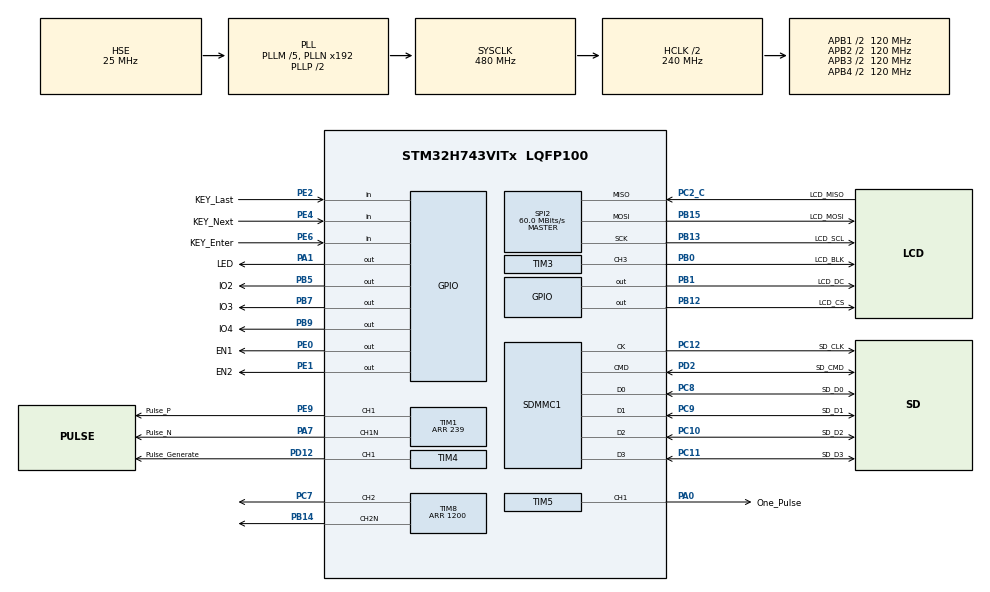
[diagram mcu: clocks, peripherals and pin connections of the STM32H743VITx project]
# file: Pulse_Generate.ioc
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Dma.Request0=SPI2_TX
Dma.SPI2_TX.0.Direction=DMA_MEMORY_TO_PERIPH
Dma.SPI2_TX.0.EventEnable=DISABLE
Dma.SPI2_TX.0.FIFOMode=DMA_FIFOMODE_DISABLE
Dma.SPI2_TX.0.Instance=DMA1_Stream0
Dma.SPI2_TX.0.MemDataAlignment=DMA_MDATAALIGN_BYTE
Dma.SPI2_TX.0.MemInc=DMA_MINC_ENABLE
Dma.SPI2_TX.0.Mode=DMA_NORMAL
Dma.SPI2_TX.0.PeriphDataAlignment=DMA_PDATAALIGN_BYTE
Dma.SPI2_TX.0.PeriphInc=DMA_PINC_DISABLE
Dma.SPI2_TX.0.Polarity=HAL_DMAMUX_REQ_GEN_RISING
Dma.SPI2_TX.0.Priority=DMA_PRIORITY_LOW
Dma.SPI2_TX.0.RequestNumber=1
Dma.SPI2_TX.0.SignalID=NONE
Dma.SPI2_TX.0.SyncEnable=DISABLE
Dma.SPI2_TX.0.SyncPolarity=HAL_DMAMUX_SYNC_NO_EVENT
Dma.SPI2_TX.0.SyncRequestNumber=1
Dma.SPI2_TX.0.SyncSignalID=NONE
FATFS._CODE_PAGE=936
FATFS._USE_LFN=2
FREERTOS.Tasks01=Empty_Task,8,128,StartTask01,Default,NULL,Dynamic,NULL,NULL;KEY_Task,16,128,StartTask02,Default,NULL,Dynamic,NULL,NULL;LED_Task,8,128,StartTask03,Default,NULL,Dynamic,NULL,NULL;FATFS_Task,24,1024,StartTask04,Default,NULL,Dynamic,NULL,NULL;LVGL_Task,21,2048,StartTask05,Default,NULL,Dynamic,NULL,NULL
FREERTOS.configTOTAL_HEAP_SIZE=30720
FREERTOS.configUSE_IDLE_HOOK=1
FREERTOS.configUSE_TICK_HOOK=1
Mcu.Family=STM32H7
Mcu.Name=STM32H743VITx
Mcu.Package=LQFP100
NVIC.DMA1_Stream0_IRQn=true\:7\:0\:true\:false\:true\:true\:false\:true\:true
NVIC.PriorityGroup=NVIC_PRIORITYGROUP_4
NVIC.SDMMC1_IRQn=true\:5\:0\:false\:false\:true\:true\:true\:true\:true
NVIC.SPI2_IRQn=true\:7\:0\:true\:false\:true\:true\:false\:true\:true
NVIC.TIM3_IRQn=true\:5\:0\:false\:false\:true\:true\:true\:true\:true
NVIC.TIM4_IRQn=true\:5\:0\:false\:false\:true\:true\:true\:true\:true
NVIC.TIM5_IRQn=true\:1\:0\:true\:false\:true\:false\:true\:true\:true
NVIC.TIM6_DAC_IRQn=true\:15\:0\:false\:false\:true\:false\:false\:true\:true
NVIC.TimeBase=TIM6_DAC_IRQn
NVIC.TimeBaseIP=TIM6
PA0.GPIO_Label=One_Pulse
PA0.GPIO_Speed=GPIO_SPEED_FREQ_VERY_HIGH
PA0.Signal=S_TIM5_CH1
PA1.GPIO_Label=LED
PA1.GPIO_Speed=GPIO_SPEED_FREQ_HIGH
PA1.PinState=GPIO_PIN_SET
PA1.Signal=GPIO_Output
PA13\ (JTMS/SWDIO).GPIO_Label=SWDIO
PA13\ (JTMS/SWDIO).Mode=Serial_Wire
PA13\ (JTMS/SWDIO).Signal=DEBUG_JTMS-SWDIO
PA14\ (JTCK/SWCLK).GPIO_Label=SWCLK
PA14\ (JTCK/SWCLK).Mode=Serial_Wire
PA14\ (JTCK/SWCLK).Signal=DEBUG_JTCK-SWCLK
PA7.GPIO_Label=Pulse_N
PA7.GPIO_PuPd=GPIO_PULLDOWN
PA7.GPIO_Speed=GPIO_SPEED_FREQ_VERY_HIGH
PA7.Mode=PWM Generation1 CH1 CH1N
PA7.Signal=TIM1_CH1N
PB0.GPIO_Label=LCD_BLK
PB0.Signal=S_TIM3_CH3
PB1.GPIO_Label=LCD_DC
PB1.GPIO_Speed=GPIO_SPEED_FREQ_VERY_HIGH
PB1.Signal=GPIO_Output
PB12.GPIO_Label=LCD_CS
PB12.GPIO_Speed=GPIO_SPEED_FREQ_VERY_HIGH
PB12.Signal=GPIO_Output
PB13.GPIO_Label=LCD_SCL
PB13.GPIO_Speed=GPIO_SPEED_FREQ_VERY_HIGH
PB13.Mode=Full_Duplex_Master
PB13.Signal=SPI2_SCK
PB14.GPIO_PuPd=GPIO_PULLDOWN
PB14.GPIO_Speed=GPIO_SPEED_FREQ_HIGH
PB14.Mode=PWM Generation2 CH2 CH2N
PB14.Signal=TIM8_CH2N
PB15.GPIO_Label=LCD_MOSI
PB15.GPIO_Speed=GPIO_SPEED_FREQ_VERY_HIGH
PB15.Mode=Full_Duplex_Master
PB15.Signal=SPI2_MOSI
PB5.GPIO_Label=IO2
PB5.GPIO_PuPd=GPIO_PULLDOWN
PB5.Signal=GPIO_Output
PB7.GPIO_Label=IO3
PB7.GPIO_PuPd=GPIO_PULLDOWN
PB7.Signal=GPIO_Output
PB9.GPIO_Label=IO4
PB9.GPIO_PuPd=GPIO_PULLDOWN
PB9.Signal=GPIO_Output
PC10.GPIO_Label=SD_D2
PC10.GPIO_PuPd=GPIO_PULLUP
PC10.Mode=SD_4_bits_Wide_bus
PC10.Signal=SDMMC1_D2
PC11.GPIO_Label=SD_D3
PC11.GPIO_PuPd=GPIO_PULLUP
PC11.Mode=SD_4_bits_Wide_bus
PC11.Signal=SDMMC1_D3
PC12.GPIO_Label=SD_CLK
PC12.GPIO_PuPd=GPIO_PULLUP
PC12.Mode=SD_4_bits_Wide_bus
PC12.Signal=SDMMC1_CK
PC2_C.GPIO_Label=LCD_MISO
PC2_C.GPIO_Speed=GPIO_SPEED_FREQ_VERY_HIGH
PC2_C.Mode=Full_Duplex_Master
PC2_C.Signal=SPI2_MISO
PC7.GPIO_PuPd=GPIO_PULLDOWN
PC7.GPIO_Speed=GPIO_SPEED_FREQ_HIGH
PC7.Signal=S_TIM8_CH2
PC8.GPIO_Label=SD_D0
PC8.GPIO_PuPd=GPIO_PULLUP
PC8.Mode=SD_4_bits_Wide_bus
PC8.Signal=SDMMC1_D0
PC9.GPIO_Label=SD_D1
PC9.GPIO_PuPd=GPIO_PULLUP
PC9.Mode=SD_4_bits_Wide_bus
PC9.Signal=SDMMC1_D1
PD12.GPIO_Label=Pulse_Generate
PD12.GPIO_Speed=GPIO_SPEED_FREQ_HIGH
PD12.Signal=S_TIM4_CH1
PD2.GPIO_Label=SD_CMD
PD2.GPIO_PuPd=GPIO_PULLUP
PD2.Mode=SD_4_bits_Wide_bus
PD2.Signal=SDMMC1_CMD
PE0.GPIO_Label=EN1
PE0.GPIO_PuPd=GPIO_PULLDOWN
PE0.GPIO_Speed=GPIO_SPEED_FREQ_LOW
PE0.PinState=GPIO_PIN_RESET
PE0.Signal=GPIO_Output
PE1.GPIO_Label=EN2
PE1.GPIO_PuPd=GPIO_PULLDOWN
PE1.Signal=GPIO_Output
PE2.GPIO_Label=KEY_Last
PE2.GPIO_PuPd=GPIO_PULLUP
PE2.Signal=GPIO_Input
PE4.GPIO_Label=KEY_Next
PE4.GPIO_PuPd=GPIO_PULLUP
PE4.Signal=GPIO_Input
PE6.GPIO_Label=KEY_Enter
PE6.GPIO_PuPd=GPIO_PULLUP
PE6.Signal=GPIO_Input
PE9.GPIO_Label=Pulse_P
PE9.GPIO_PuPd=GPIO_PULLDOWN
PE9.GPIO_Speed=GPIO_SPEED_FREQ_VERY_HIGH
PE9.Signal=S_TIM1_CH1
PH0-OSC_IN\ (PH0).GPIO_Label=OSC_IN
PH0-OSC_IN\ (PH0).Mode=HSE-External-Oscillator
PH0-OSC_IN\ (PH0).Signal=RCC_OSC_IN
PH1-OSC_OUT\ (PH1).GPIO_Label=OSC_OUT
PH1-OSC_OUT\ (PH1).Mode=HSE-External-Oscillator
PH1-OSC_OUT\ (PH1).Signal=RCC_OSC_OUT
ProjectManager.HeapSize=0x400
ProjectManager.StackSize=0x1000
ProjectManager.TargetToolchain=MDK-ARM V5.32
RCC.ADCFreq_Value=200000000
RCC.APB1Freq_Value=120000000
RCC.APB2Freq_Value=120000000
RCC.APB3Freq_Value=120000000
RCC.APB4Freq_Value=120000000
RCC.CortexFreq_Value=480000000
RCC.D1PPRE=RCC_APB3_DIV2
RCC.D2PPRE1=RCC_APB1_DIV2
RCC.D2PPRE2=RCC_APB2_DIV2
RCC.D3PPRE=RCC_APB4_DIV2
RCC.DIVM1=5
RCC.DIVM2=5
RCC.DIVM3=5
RCC.DIVN1=192
RCC.DIVN2=80
RCC.DIVN3=48
RCC.HCLKFreq_Value=240000000
RCC.HPRE=RCC_HCLK_DIV2
RCC.PLLSourceVirtual=RCC_PLLSOURCE_HSE
RCC.SDMMC1CLockSelection=RCC_SDMMCCLKSOURCE_PLL2
RCC.SPI123CLockSelection=RCC_SPI123CLKSOURCE_PLL3
RCC.SYSCLKFreq_VALUE=480000000
RCC.SYSCLKSource=RCC_SYSCLKSOURCE_PLLCLK
RCC.USBFreq_Value=480000000
SDMMC1.ClockDiv=8
SH.S_TIM1_CH1.0=TIM1_CH1,PWM Generation1 CH1 CH1N
SH.S_TIM3_CH3.0=TIM3_CH3,PWM Generation3 CH3
SH.S_TIM4_CH1.0=TIM4_CH1,PWM Generation1 CH1
SH.S_TIM5_CH1.0=TIM5_CH1,PWM Generation1 CH1
SH.S_TIM8_CH2.0=TIM8_CH2,PWM Generation2 CH2 CH2N
SPI2.BaudRatePrescaler=SPI_BAUDRATEPRESCALER_2
SPI2.CLKPhase=SPI_PHASE_1EDGE
SPI2.CLKPolarity=SPI_POLARITY_HIGH
SPI2.CalculateBaudRate=60.0 MBits/s
SPI2.DataSize=SPI_DATASIZE_8BIT
SPI2.Direction=SPI_DIRECTION_2LINES
SPI2.Mode=SPI_MODE_MASTER
SPI2.VirtualType=VM_MASTER
TIM1.Channel-PWM\ Generation1\ CH1\ CH1N=TIM_CHANNEL_1
TIM1.DeadTime=20
TIM1.LockLevel=TIM_LOCKLEVEL_1
TIM1.OC1Preload_PWM=DISABLE
TIM1.OCIdleState_1=TIM_OCIDLESTATE_RESET
TIM1.OCNPolarity_1=TIM_OCNPOLARITY_HIGH
TIM1.OCPolarity_1=TIM_OCPOLARITY_HIGH
TIM1.OffStateIDLEMode=TIM_OSSI_ENABLE
TIM1.OffStateRunMode=TIM_OSSR_ENABLE
TIM1.Period=239
TIM1.Pulse-PWM\ Generation1\ CH1\ CH1N=119
TIM3.AutoReloadPreload=TIM_AUTORELOAD_PRELOAD_ENABLE
TIM3.Channel-PWM\ Generation3\ CH3=TIM_CHANNEL_3
TIM3.OCPolarity_3=TIM_OCPOLARITY_LOW
TIM3.Period=100
TIM3.Prescaler=11
TIM3.Pulse-PWM\ Generation3\ CH3=50
TIM4.Channel-PWM\ Generation1\ CH1=TIM_CHANNEL_1
TIM4.OCPolarity_1=TIM_OCPOLARITY_LOW
TIM4.Period=239
TIM4.Prescaler=0
TIM4.Pulse-PWM\ Generation1\ CH1=119
TIM5.Channel-PWM\ Generation1\ CH1=TIM_CHANNEL_1
TIM5.CounterMode=TIM_COUNTERMODE_UP
TIM5.OC1Preload_PWM=DISABLE
TIM5.OCPolarity_1=TIM_OCPOLARITY_LOW
TIM5.Period=239
TIM5.Pulse-PWM\ Generation1\ CH1=119
TIM8.AutoReloadPreload=TIM_AUTORELOAD_PRELOAD_ENABLE
TIM8.Channel-PWM\ Generation2\ CH2\ CH2N=TIM_CHANNEL_2
TIM8.DeadTime=20
TIM8.LockLevel=TIM_LOCKLEVEL_1
TIM8.OCFastMode_PWM-PWM\ Generation2\ CH2\ CH2N=TIM_OCFAST_ENABLE
TIM8.OCNPolarity_2=TIM_OCNPOLARITY_HIGH
TIM8.OCPolarity_2=TIM_OCPOLARITY_HIGH
TIM8.OffStateIDLEMode=TIM_OSSI_ENABLE
TIM8.OffStateRunMode=TIM_OSSR_ENABLE
TIM8.Period=1200
TIM8.Pulse-PWM\ Generation2\ CH2\ CH2N=600
VP_FATFS_VS_SDIO.Mode=SDIO
VP_FREERTOS_VS_CMSIS_V2.Mode=CMSIS_V2
VP_SYS_VS_tim6.Mode=TIM6
VP_TIM1_VS_ClockSourceINT.Mode=Internal
VP_TIM1_VS_OPM.Mode=OPM_bit
VP_TIM3_VS_ClockSourceINT.Mode=Internal
VP_TIM4_VS_ClockSourceINT.Mode=Internal
VP_TIM5_VS_ClockSourceINT.Mode=Internal
VP_TIM5_VS_OPM.Mode=OPM_bit
VP_TIM8_VS_ClockSourceINT.Mode=Internal
board=custom

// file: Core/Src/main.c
/* USER CODE BEGIN Header */
/**
  ******************************************************************************
  * @file           : main.c
  * @brief          : Main program body
  ******************************************************************************
  * @attention
  *
  * Copyright (c) 2023 STMicroelectronics.
  * All rights reserved.
  *
  * This software is licensed under terms that can be found in the LICENSE file
  * in the root directory of this software component.
  * If no LICENSE file comes with this software, it is provided AS-IS.
  *
  ******************************************************************************
  */
/* USER CODE END Header */
#include "main.h"
#include "cmsis_os.h"
#include "dma.h"
#include "fatfs.h"
#include "sdmmc.h"
#include "spi.h"
#include "tim.h"
#include "gpio.h"

void SystemClock_Config(void);
void MX_FREERTOS_Init(void);

int main(void)
{

  /* MCU Configuration--------------------------------------------------------*/

  /* Reset of all peripherals, Initializes the Flash interface and the Systick. */
  HAL_Init();

  /* Configure the system clock */
  SystemClock_Config();

  /* USER CODE BEGIN SysInit */
  MX_DMA_Init();
  /* USER CODE END SysInit */

  /* Initialize all configured peripherals */
  MX_GPIO_Init();
  MX_DMA_Init();
  MX_SPI2_Init();
  MX_SDMMC1_SD_Init();
  MX_TIM3_Init();
  MX_TIM4_Init();
  MX_FATFS_Init();
  MX_TIM5_Init();
  MX_TIM1_Init();
  MX_TIM8_Init();

  /* Init scheduler */
  osKernelInitialize();

  /* Call init function for freertos objects (in freertos.c) */
  MX_FREERTOS_Init();

  /* Start scheduler */
  osKernelStart();

  /* We should never get here as control is now taken by the scheduler */
  /* Infinite loop */
  while (1)
  {

  }
}

void SystemClock_Config(void)
{
  RCC_OscInitTypeDef RCC_OscInitStruct = {0};
  RCC_ClkInitTypeDef RCC_ClkInitStruct = {0};

  /** Supply configuration update enable
  */
  HAL_PWREx_ConfigSupply(PWR_LDO_SUPPLY);

  /** Configure the main internal regulator output voltage
  */
  __HAL_PWR_VOLTAGESCALING_CONFIG(PWR_REGULATOR_VOLTAGE_SCALE1);

  while(!__HAL_PWR_GET_FLAG(PWR_FLAG_VOSRDY)) {}

  __HAL_RCC_SYSCFG_CLK_ENABLE();
  __HAL_PWR_VOLTAGESCALING_CONFIG(PWR_REGULATOR_VOLTAGE_SCALE0);

  while(!__HAL_PWR_GET_FLAG(PWR_FLAG_VOSRDY)) {}

  /** Initializes the RCC Oscillators according to the specified parameters
  * in the RCC_OscInitTypeDef structure.
  */
  RCC_OscInitStruct.OscillatorType = RCC_OSCILLATORTYPE_HSE;
  RCC_OscInitStruct.HSEState = RCC_HSE_ON;
  RCC_OscInitStruct.PLL.PLLState = RCC_PLL_ON;
  RCC_OscInitStruct.PLL.PLLSource = RCC_PLLSOURCE_HSE;
  RCC_OscInitStruct.PLL.PLLM = 5;
  RCC_OscInitStruct.PLL.PLLN = 192;
  RCC_OscInitStruct.PLL.PLLP = 2;
  RCC_OscInitStruct.PLL.PLLQ = 2;
  RCC_OscInitStruct.PLL.PLLR = 2;
  RCC_OscInitStruct.PLL.PLLRGE = RCC_PLL1VCIRANGE_2;
  RCC_OscInitStruct.PLL.PLLVCOSEL = RCC_PLL1VCOWIDE;
  RCC_OscInitStruct.PLL.PLLFRACN = 0;
  if (HAL_RCC_OscConfig(&RCC_OscInitStruct) != HAL_OK)
  {
    Error_Handler();
  }

  /** Initializes the CPU, AHB and APB buses clocks
  */
  RCC_ClkInitStruct.ClockType = RCC_CLOCKTYPE_HCLK|RCC_CLOCKTYPE_SYSCLK
                              |RCC_CLOCKTYPE_PCLK1|RCC_CLOCKTYPE_PCLK2
                              |RCC_CLOCKTYPE_D3PCLK1|RCC_CLOCKTYPE_D1PCLK1;
  RCC_ClkInitStruct.SYSCLKSource = RCC_SYSCLKSOURCE_PLLCLK;
  RCC_ClkInitStruct.SYSCLKDivider = RCC_SYSCLK_DIV1;
  RCC_ClkInitStruct.AHBCLKDivider = RCC_HCLK_DIV2;
  RCC_ClkInitStruct.APB3CLKDivider = RCC_APB3_DIV2;
  RCC_ClkInitStruct.APB1CLKDivider = RCC_APB1_DIV2;
  RCC_ClkInitStruct.APB2CLKDivider = RCC_APB2_DIV2;
  RCC_ClkInitStruct.APB4CLKDivider = RCC_APB4_DIV2;

  if (HAL_RCC_ClockConfig(&RCC_ClkInitStruct, FLASH_LATENCY_4) != HAL_OK)
  {
    Error_Handler();
  }
}

void HAL_TIM_PeriodElapsedCallback(TIM_HandleTypeDef *htim)
{
  if (htim->Instance == TIM6) {
    HAL_IncTick();
  }
}

void Error_Handler(void)
{
  __disable_irq();
  while (1)
  {
  }
}

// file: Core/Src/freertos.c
/* USER CODE BEGIN Header */
/**
  ******************************************************************************
  * File Name          : freertos.c
  * Description        : Code for freertos applications
  ******************************************************************************
  * @attention
  *
  * Copyright (c) 2023 STMicroelectronics.
  * All rights reserved.
  *
  * This software is licensed under terms that can be found in the LICENSE file
  * in the root directory of this software component.
  * If no LICENSE file comes with this software, it is provided AS-IS.
  *
  ******************************************************************************
  */
/* USER CODE END Header */

#include "FreeRTOS.h"
#include "task.h"
#include "main.h"
#include "cmsis_os.h"

/* USER CODE BEGIN Includes */
#include "lcd.h"
#include "tim.h"
#include "lvgl.h"
#include "ui/ui.h"
#include "lv_port_disp.h"
#include "demos/lv_demos.h"
#include "lv_port_indev.h"
#include "ui_used.h"
#include "stm32h7xx_it.h"
/* USER CODE END Includes */

/* USER CODE BEGIN PD */
void Clear(void * src)
{
  lv_obj_clear_state(ui_Switch1, LV_STATE_CHECKED);
}
/* USER CODE END PD */

/* USER CODE BEGIN PM */
uint32_t a = 0U;
uint32_t b = 0U;

bool LVGL_LOCK = false;

#define __RTOS_LOCK(__HANDLE__) {                               \
                                  while(__HANDLE__ != false)    \
                                    osDelay(1);                 \
                                  __HANDLE__ = true;            \
                                }
#define __RTOS_UNLOCK(__HANDLE__) __HANDLE__ = false
/* USER CODE END PM */

/* Definitions for Empty_Task */
osThreadId_t Empty_TaskHandle;
const osThreadAttr_t Empty_Task_attributes = {
  .name = "Empty_Task",
  .stack_size = 128 * 4,
  .priority = (osPriority_t) osPriorityLow,
};
/* Definitions for KEY_Task */
osThreadId_t KEY_TaskHandle;
const osThreadAttr_t KEY_Task_attributes = {
  .name = "KEY_Task",
  .stack_size = 128 * 4,
  .priority = (osPriority_t) osPriorityBelowNormal,
};
/* Definitions for LED_Task */
osThreadId_t LED_TaskHandle;
const osThreadAttr_t LED_Task_attributes = {
  .name = "LED_Task",
  .stack_size = 128 * 4,
  .priority = (osPriority_t) osPriorityLow,
};
/* Definitions for FATFS_Task */
osThreadId_t FATFS_TaskHandle;
const osThreadAttr_t FATFS_Task_attributes = {
  .name = "FATFS_Task",
  .stack_size = 1024 * 4,
  .priority = (osPriority_t) osPriorityNormal,
};
/* Definitions for LVGL_Task */
osThreadId_t LVGL_TaskHandle;
const osThreadAttr_t LVGL_Task_attributes = {
  .name = "LVGL_Task",
  .stack_size = 2048 * 4,
  .priority = (osPriority_t) osPriorityBelowNormal5,
};

void StartTask01(void *argument);
void StartTask02(void *argument);
void StartTask03(void *argument);
void StartTask04(void *argument);
void StartTask05(void *argument);

void MX_FREERTOS_Init(void); /* (MISRA C 2004 rule 8.1) */

/* Hook prototypes */
void vApplicationIdleHook(void);
void vApplicationTickHook(void);

/* USER CODE BEGIN 2 */
void vApplicationIdleHook( void )
{
   /* vApplicationIdleHook() will only be called if configUSE_IDLE_HOOK is set
   to 1 in FreeRTOSConfig.h. It will be called on each iteration of the idle
   task. It is essential that code added to this hook function never attempts
   to block in any way (for example, call xQueueReceive() with a block time
   specified, or call vTaskDelay()). If the application makes use of the
   vTaskDelete() API function (as this demo application does) then it is also
   important that vApplicationIdleHook() is permitted to return to its calling
   function, because it is the responsibility of the idle task to clean up
   memory allocated by the kernel to any task that has since been deleted. */
}
/* USER CODE END 2 */

/* USER CODE BEGIN 3 */
void vApplicationTickHook( void )
{
   /* This function will be called by each tick interrupt if
   configUSE_TICK_HOOK is set to 1 in FreeRTOSConfig.h. User code can be
   added here, but the tick hook is called from an interrupt context, so
   code must not attempt to block, and only the interrupt safe FreeRTOS API
   functions can be used (those that end in FromISR()). */
   lv_tick_inc(1);   //1ms心跳周期
}
/* USER CODE END 3 */

void MX_FREERTOS_Init(void) {

  /* Create the thread(s) */
  /* creation of Empty_Task */
  Empty_TaskHandle = osThreadNew(StartTask01, NULL, &Empty_Task_attributes);

  /* creation of KEY_Task */
  KEY_TaskHandle = osThreadNew(StartTask02, NULL, &KEY_Task_attributes);

  /* creation of LED_Task */
  LED_TaskHandle = osThreadNew(StartTask03, NULL, &LED_Task_attributes);

  /* creation of FATFS_Task */
  FATFS_TaskHandle = osThreadNew(StartTask04, NULL, &FATFS_Task_attributes);

  /* creation of LVGL_Task */
  LVGL_TaskHandle = osThreadNew(StartTask05, NULL, &LVGL_Task_attributes);

}

void StartTask01(void *argument)
{
  /* USER CODE BEGIN StartTask01 */
  osDelay(10);

  // Width_Count = (uint32_t)(Pulse_Width/(dt*(Pulse_Number + 1)));
  // Period_Count = Width_Count*2;

  // htim5.Instance->CR1 = htim5.Instance->CR1 | 0x1;
  // HAL_TIM_PWM_Start(&htim5, TIM_CHANNEL_1);

  /* Infinite loop */
  for(;;)
  {
    if(OK == true)
    {
      OK = false;
      osDelay(1000);
      __RTOS_LOCK(LVGL_LOCK);

      lv_async_call(Clear, lv_scr_act());
      __RTOS_UNLOCK(LVGL_LOCK);
    }
    osDelay(500);
  }
  /* USER CODE END StartTask01 */
}

void StartTask02(void *argument)
{
  /* USER CODE BEGIN StartTask02 */
  //Pulse_Number

  /* Infinite loop */
  for(;;)
  {

    osDelay(1);
  }
  /* USER CODE END StartTask02 */
}

void StartTask03(void *argument)
{
  /* USER CODE BEGIN StartTask03 */
  /* Infinite loop */
  for(;;)
  {
    HAL_GPIO_TogglePin(LED_GPIO_Port, LED_Pin);
    osDelay(500);
  }
  /* USER CODE END StartTask03 */
}

void StartTask04(void *argument)
{
  /* USER CODE BEGIN StartTask04 */
  /* Infinite loop */
  for(;;)
  {
    // HAL_TIM_OnePulse_Start(&htim1, TIM_CHANNEL_1);
    // HAL_TIMEx_OnePulseN_Start(&htim1, TIM_CHANNEL_1);K
    osDelay(3000);
  }
  /* USER CODE END StartTask04 */
}

void StartTask05(void *argument)
{
  /* USER CODE BEGIN StartTask05 */
  LCD_Init();
  __RTOS_LOCK(LVGL_LOCK);
  lv_init();
  lv_port_disp_init();
  lv_port_indev_init();
  // lv_demo_stress();
  ui_init();
  Use_Event_Init();
  Focuse_Group_Init();
  __RTOS_UNLOCK(LVGL_LOCK);
  /* Infinite loop */
  for(;;)
  {
    __RTOS_LOCK(LVGL_LOCK);
    lv_task_handler();
    __RTOS_UNLOCK(LVGL_LOCK);
    osDelay(10);
  }
  /* USER CODE END StartTask05 */
}
